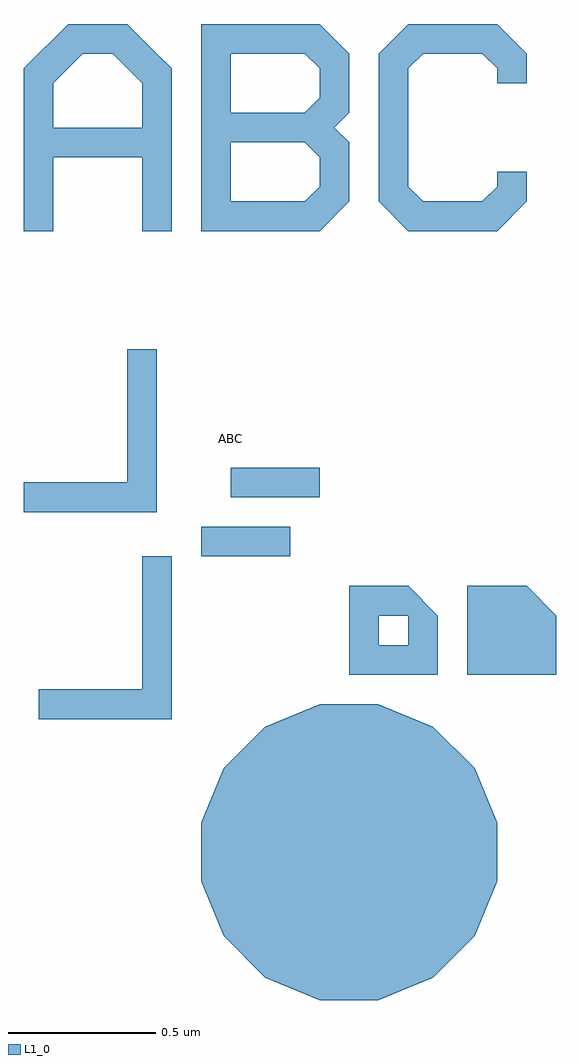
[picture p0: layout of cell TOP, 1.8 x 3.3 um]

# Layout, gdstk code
import gdstk
lib = gdstk.Library(unit=1e-6, precision=1e-09)
def R(c, l, rs):  # rectangles x0, y0, x1, y1
    for r in rs: c.add(gdstk.rectangle(r[:2], r[2:], *l))
def P(c, l, *ps):  # polygons
    for p in ps: c.add(gdstk.Polygon(p, *l))
L1_0 = (1, 0)

text = lib.new_cell('TEXT')
P(text, L1_0, [(0,0),(0,0.55),(0.15,0.7),(0.35,0.7),(0.45,0.6),(0.2,0.6),(0.1,0.5),(0.1,0.35),(0.4,0.35),(0.4,0.5),(0.3,0.6),(0.45,0.6),(0.5,0.55),(0.5,0),(0.4,0),(0.4,0.25),(0.1,0.25),(0.1,0)],
  [(0.6,0),(0.6,0.7),(1,0.7),(1.1,0.6),(0.7,0.6),(0.7,0.4),(0.95,0.4),(1,0.45),(1,0.55),(0.95,0.6),(1.1,0.6),(1.1,0.4),(1.05,0.35),(1.1,0.3),(0.7,0.3),(0.7,0.1),(0.95,0.1),(1,0.15),(1,0.25),(0.95,0.3),(1.1,0.3),(1.1,0.1),(1,0)],
  [(1.3,0),(1.2,0.1),(1.2,0.6),(1.3,0.7),(1.6,0.7),(1.7,0.6),(1.7,0.5),(1.6,0.5),(1.6,0.55),(1.55,0.6),(1.35,0.6),(1.3,0.55),(1.3,0.15),(1.35,0.1),(1.55,0.1),(1.6,0.15),(1.6,0.2),(1.7,0.2),(1.7,0.1),(1.6,0)])

circle = lib.new_cell('CIRCLE')
P(circle, L1_0, [(-0.099,-0.5),(-0.283,-0.424),(-0.424,-0.283),(-0.5,-0.099),(-0.5,0.099),(-0.424,0.283),(-0.283,0.424),(-0.099,0.5),(0.099,0.5),(0.283,0.424),(0.424,0.283),(0.5,0.099),(0.5,-0.099),(0.424,-0.283),(0.283,-0.424),(0.099,-0.5)])

top = lib.new_cell('TOP')
R(top, L1_0, [(-1.4,0.4,-1.1,0.5), (-1.3,0.6,-1,0.7)])
P(top, L1_0, [(-0.5,0),(-0.5,0.3),(-0.3,0.3),(-0.2,0.2),(-0.2,0)],
  [(-0.9,0),(-0.9,0.2),(-0.8,0.2),(-0.8,0.1),(-0.7,0.1),(-0.7,0.2),(-0.9,0.2),(-0.9,0.3),(-0.7,0.3),(-0.6,0.2),(-0.6,0)],
  [(-2,0.55),(-2,0.65),(-1.65,0.65),(-1.65,1.1),(-1.55,1.1),(-1.55,0.55)],
  [(-1.95,-0.15),(-1.95,-0.05),(-1.6,-0.05),(-1.6,0.4),(-1.5,0.4),(-1.5,-0.15)])
top.add(gdstk.Reference(text, (-2,1.5)))
top.add(gdstk.Reference(circle, (-0.9,-0.6)))
top.add(gdstk.Label('ABC', (-1.3,0.8), layer=1, texttype=0))

lib.write_gds('TOP.gds')
